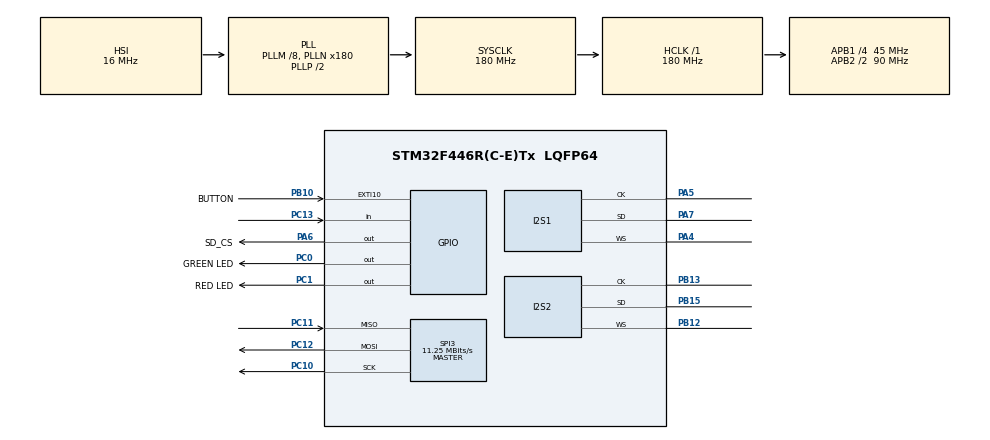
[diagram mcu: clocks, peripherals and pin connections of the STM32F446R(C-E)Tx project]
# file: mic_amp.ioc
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Dma.Request0=SPI1_TX
Dma.Request1=SPI2_RX
Dma.SPI1_TX.0.Direction=DMA_MEMORY_TO_PERIPH
Dma.SPI1_TX.0.FIFOMode=DMA_FIFOMODE_DISABLE
Dma.SPI1_TX.0.Instance=DMA2_Stream5
Dma.SPI1_TX.0.MemDataAlignment=DMA_MDATAALIGN_HALFWORD
Dma.SPI1_TX.0.MemInc=DMA_MINC_ENABLE
Dma.SPI1_TX.0.Mode=DMA_NORMAL
Dma.SPI1_TX.0.PeriphDataAlignment=DMA_PDATAALIGN_HALFWORD
Dma.SPI1_TX.0.PeriphInc=DMA_PINC_DISABLE
Dma.SPI1_TX.0.Priority=DMA_PRIORITY_LOW
Dma.SPI2_RX.1.Direction=DMA_PERIPH_TO_MEMORY
Dma.SPI2_RX.1.FIFOMode=DMA_FIFOMODE_DISABLE
Dma.SPI2_RX.1.Instance=DMA1_Stream3
Dma.SPI2_RX.1.MemDataAlignment=DMA_MDATAALIGN_HALFWORD
Dma.SPI2_RX.1.MemInc=DMA_MINC_ENABLE
Dma.SPI2_RX.1.Mode=DMA_NORMAL
Dma.SPI2_RX.1.PeriphDataAlignment=DMA_PDATAALIGN_HALFWORD
Dma.SPI2_RX.1.PeriphInc=DMA_PINC_DISABLE
Dma.SPI2_RX.1.Priority=DMA_PRIORITY_LOW
FATFS._MAX_SS=4096
FATFS._USE_CHMOD=0
FATFS._USE_LFN=1
FATFS._USE_MKFS=1
I2S1.AudioFreq=I2S_AUDIOFREQ_16K
I2S1.DataFormat=I2S_DATAFORMAT_32B
I2S1.ErrorAudioFreq=-0.35 %
I2S1.FullDuplexMode=I2S_FULLDUPLEXMODE_DISABLE
I2S1.Instance=SPI$Index
I2S1.RealAudioFreq=15.943 KHz
I2S1.Standard=I2S_STANDARD_PHILIPS
I2S1.VirtualMode=I2S_MODE_MASTER
I2S2.AudioFreq=I2S_AUDIOFREQ_16K
I2S2.DataFormat=I2S_DATAFORMAT_32B
I2S2.ErrorAudioFreq=-0.35 %
I2S2.FullDuplexMode=I2S_FULLDUPLEXMODE_DISABLE
I2S2.Instance=SPI$Index
I2S2.Mode=I2S_MODE_MASTER_RX
I2S2.RealAudioFreq=15.943 KHz
I2S2.VirtualMode=I2S_MODE_MASTER
Mcu.Family=STM32F4
Mcu.Name=STM32F446R(C-E)Tx
Mcu.Package=LQFP64
NVIC.DMA1_Stream3_IRQn=true\:0\:0\:false\:false\:true\:false\:true\:true
NVIC.DMA2_Stream5_IRQn=true\:0\:0\:false\:false\:true\:false\:true\:true
NVIC.EXTI15_10_IRQn=true\:0\:0\:false\:false\:true\:true\:true\:true
NVIC.PriorityGroup=NVIC_PRIORITYGROUP_0
PA13.Mode=Serial_Wire
PA13.Signal=SYS_JTMS-SWDIO
PA14.Mode=Serial_Wire
PA14.Signal=SYS_JTCK-SWCLK
PA2.GPIO_Label=USART_TX
PA2.Signal=USART2_TX
PA3.GPIO_Label=USART_RX
PA3.Signal=USART2_RX
PA4.Mode=Half_Duplex_Master
PA4.Signal=I2S1_WS
PA5.Mode=Half_Duplex_Master
PA5.Signal=I2S1_CK
PA6.GPIO_Label=SD_CS
PA6.GPIO_Speed=GPIO_SPEED_FREQ_HIGH
PA6.Signal=GPIO_Output
PA7.Mode=Half_Duplex_Master
PA7.Signal=I2S1_SD
PB10.GPIO_Label=BUTTON
PB10.GPIO_ModeDefaultEXTI=GPIO_MODE_IT_FALLING
PB10.GPIO_PuPd=GPIO_PULLDOWN
PB10.Signal=GPXTI10
PB12.Mode=Half_Duplex_Master
PB12.Signal=I2S2_WS
PB13.Mode=Half_Duplex_Master
PB13.Signal=I2S2_CK
PB15.Mode=Half_Duplex_Master
PB15.Signal=I2S2_SD
PC0.GPIO_Label=GREEN LED
PC0.GPIO_PuPd=GPIO_PULLDOWN
PC0.Signal=GPIO_Output
PC1.GPIO_Label=RED LED
PC1.GPIO_PuPd=GPIO_PULLDOWN
PC1.Signal=GPIO_Output
PC10.Mode=Full_Duplex_Master
PC10.Signal=SPI3_SCK
PC11.Mode=Full_Duplex_Master
PC11.Signal=SPI3_MISO
PC12.Mode=Full_Duplex_Master
PC12.Signal=SPI3_MOSI
PC13.Signal=GPIO_Input
PH0-OSC_IN.Mode=HSE-External-Oscillator
PH0-OSC_IN.Signal=RCC_OSC_IN
PH1-OSC_OUT.Mode=HSE-External-Oscillator
PH1-OSC_OUT.Signal=RCC_OSC_OUT
ProjectManager.HeapSize=0x200
ProjectManager.StackSize=0x400
ProjectManager.TargetToolchain=STM32CubeIDE
RCC.AHBFreq_Value=180000000
RCC.APB1CLKDivider=RCC_HCLK_DIV4
RCC.APB1Freq_Value=45000000
RCC.APB1TimFreq_Value=90000000
RCC.APB2CLKDivider=RCC_HCLK_DIV2
RCC.APB2Freq_Value=90000000
RCC.APB2TimFreq_Value=180000000
RCC.CortexFreq_Value=180000000
RCC.FLatency-AdvancedSettings=FLASH_LATENCY_5
RCC.HCLKFreq_Value=180000000
RCC.HSE_VALUE=8000000
RCC.HSI_VALUE=16000000
RCC.LSE_VALUE=32768
RCC.PLLI2SM=8
RCC.PLLI2SN=50
RCC.PLLM=8
RCC.PLLN=180
RCC.PLLQ=3
RCC.SYSCLKFreq_VALUE=180000000
RCC.SYSCLKSource=RCC_SYSCLKSOURCE_PLLCLK
RCC.USBFreq_Value=120000000
RCC.VCOOutputFreq_Value=360000000
SPI3.BaudRatePrescaler=SPI_BAUDRATEPRESCALER_4
SPI3.CalculateBaudRate=11.25 MBits/s
SPI3.Direction=SPI_DIRECTION_2LINES
SPI3.Mode=SPI_MODE_MASTER
SPI3.VirtualType=VM_MASTER
VP_FATFS_VS_Generic.Mode=User_defined
board=NUCLEO-F446RE

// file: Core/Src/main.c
/* USER CODE BEGIN Header */
/**
  ******************************************************************************
  * @file           : main.c
  * @brief          : Main program body
  ******************************************************************************
  * @attention
  *
  * Copyright (c) 2023 STMicroelectronics.
  * All rights reserved.
  *
  * This software is licensed under terms that can be found in the LICENSE file
  * in the root directory of this software component.
  * If no LICENSE file comes with this software, it is provided AS-IS.
  *
  ******************************************************************************
  */
/* USER CODE END Header */
#include "main.h"
#include "fatfs.h"

/* USER CODE BEGIN Includes */
#include "fatfs_sd.h"
#include "string.h"
/* USER CODE END Includes */

I2S_HandleTypeDef hi2s1;
I2S_HandleTypeDef hi2s2;
DMA_HandleTypeDef hdma_spi1_tx;
DMA_HandleTypeDef hdma_spi2_rx;

SPI_HandleTypeDef hspi3;

/* USER CODE BEGIN PV */
FATFS fs;			// file system
FIL fil;			// file
FRESULT fresult;	// to store the result
char buffer[1024];	// to store data

UINT br, bw;		// file read/write count

/* capacity related variables */
FATFS *pfs;
DWORD fre_clust;
uint32_t total, free_space;

/* to send the data to the uart */
void send_uart(char *string) {
	uint8_t len = strlen(string);
	HAL_UART_Transmit(&huart1, (uint8_t *) string, len, 2000);	//transmit in blocking mode
}

/* to find the size of data in the buffer */
int bufsize (char *buf) {
	int i = 0;
	while (*buf++ != '\0') {i++;}
	return i;
}

void bufclear (void) {
	for(int i = 0; i < 1024; i++) {buffer[i] = '\0';}
}

/* USER CODE END PV */

void SystemClock_Config(void);
void PeriphCommonClock_Config(void);
static void MX_GPIO_Init(void);
static void MX_DMA_Init(void);
static void MX_I2S1_Init(void);
static void MX_I2S2_Init(void);
static void MX_SPI3_Init(void);

int main(void)
{

  /* MCU Configuration--------------------------------------------------------*/

  /* Reset of all peripherals, Initializes the Flash interface and the Systick. */
  HAL_Init();

  /* Configure the system clock */
  SystemClock_Config();

/* Configure the peripherals common clocks */
  PeriphCommonClock_Config();

  /* Initialize all configured peripherals */
  MX_GPIO_Init();
  MX_DMA_Init();
  MX_I2S1_Init();
  MX_I2S2_Init();
  MX_SPI3_Init();
  MX_FATFS_Init();
  /* USER CODE BEGIN 2 */
//  /* Mount SD Card */
//  if(f_mount(&fs, "", 0) != FR_OK) {_Error_Handler(__FILE__, __LINE__);}
//
//  /* Open file to write */
//  if(f_open(&fil, "first.txt", FA_OPEN_ALWAYS | FA_READ | FA_WRITE) != FR_OK) {
//	  _Error_Handler(__FILE__, __LINE__);
//  }
//
//  /* Check free space */
//  if(f_getfree("", &fre_clust, &pfs) != FR_OK){
//	  _Error_Handler(__FILE__, __LINE__);
//  }
//
//  total = (uint32_t)((pfs->n_fatent - 2) * pfs->csize * 0.5);
//  free_space = (uint32_t)(fre_clust * pfs->csize * 0.5);
//
//  /* Free space is less than 1kb */
//  if(free_space < 1){
//	  _Error_Handler(__FILE__, __LINE__);
//  }
//
//  /* Writing text */
//  f_puts("STM32 SD Card I/O Example via SPI\n", &fil);
//  f_puts("Save the world!!!", &fil);
//
//  /* Close file */
//  if(f_close(&fil) != FR_OK){
//	  _Error_Handler(__FILE__, __LINE__);
//  }
//
//  /* Open file to read */
//  if(f_open(&fil, "first.txt", FA_READ) != FR_OK){
//	  _Error_Handler(__FILE__, __LINE__);
//  }
//
//  while(f_gets(buffer, sizeof(buffer), &fil))
//  {
//    //printf("%s", buffer);
//  }
//
//  /* Close file */
//  if(f_close(&fil) != FR_OK){
//	  _Error_Handler(__FILE__, __LINE__);
//  }
//
//  /* Unmount SDCARD */
//  if(f_mount(NULL, "", 1) != FR_OK){
//	  _Error_Handler(__FILE__, __LINE__);
//  }
  // mount SD card
    fresult = f_mount(&fs, "/", 1);
    if (fresult != FR_OK) {send_uart("ERROR!!! in mounting SD CARD...\n\n");}
    else {send_uart("SD CARD mounted successfully...\n\n");}

    /* open file to write / create a file if it doesn't exist */
    fresult = fopen(&fil, "file1.txt", FA_OPEN_ALWAYS | FA_READ | FA_WRITE);

    /* write text */
    fresult = f_puts("This data is from the First FILE\n\n", &fil);
    send_uart("File1.txt created and the data is written \n");

    /* close file */
    fresult = f_close(&fil);

    /* open file to read */
	fresult = fopen(&fil, "file1.txt", FA_READ);

	/* read string from the file */
	f_gets(buffer, sizeof(buffer), &fil);
	send_uart(buffer);

	/* close file */
	fresult = f_close(&fil);
	bufclear();

  /* USER CODE END 2 */

  /* Infinite loop */
  while (1)
  {

  }
}

void SystemClock_Config(void)
{
  RCC_OscInitTypeDef RCC_OscInitStruct = {0};
  RCC_ClkInitTypeDef RCC_ClkInitStruct = {0};

  /** Configure the main internal regulator output voltage
  */
  __HAL_RCC_PWR_CLK_ENABLE();
  __HAL_PWR_VOLTAGESCALING_CONFIG(PWR_REGULATOR_VOLTAGE_SCALE1);

  /** Initializes the RCC Oscillators according to the specified parameters
  * in the RCC_OscInitTypeDef structure.
  */
  RCC_OscInitStruct.OscillatorType = RCC_OSCILLATORTYPE_HSI;
  RCC_OscInitStruct.HSIState = RCC_HSI_ON;
  RCC_OscInitStruct.HSICalibrationValue = RCC_HSICALIBRATION_DEFAULT;
  RCC_OscInitStruct.PLL.PLLState = RCC_PLL_ON;
  RCC_OscInitStruct.PLL.PLLSource = RCC_PLLSOURCE_HSI;
  RCC_OscInitStruct.PLL.PLLM = 8;
  RCC_OscInitStruct.PLL.PLLN = 180;
  RCC_OscInitStruct.PLL.PLLP = RCC_PLLP_DIV2;
  RCC_OscInitStruct.PLL.PLLQ = 3;
  RCC_OscInitStruct.PLL.PLLR = 2;
  if (HAL_RCC_OscConfig(&RCC_OscInitStruct) != HAL_OK)
  {
    Error_Handler();
  }

  /** Activate the Over-Drive mode
  */
  if (HAL_PWREx_EnableOverDrive() != HAL_OK)
  {
    Error_Handler();
  }

  /** Initializes the CPU, AHB and APB buses clocks
  */
  RCC_ClkInitStruct.ClockType = RCC_CLOCKTYPE_HCLK|RCC_CLOCKTYPE_SYSCLK
                              |RCC_CLOCKTYPE_PCLK1|RCC_CLOCKTYPE_PCLK2;
  RCC_ClkInitStruct.SYSCLKSource = RCC_SYSCLKSOURCE_PLLCLK;
  RCC_ClkInitStruct.AHBCLKDivider = RCC_SYSCLK_DIV1;
  RCC_ClkInitStruct.APB1CLKDivider = RCC_HCLK_DIV4;
  RCC_ClkInitStruct.APB2CLKDivider = RCC_HCLK_DIV2;

  if (HAL_RCC_ClockConfig(&RCC_ClkInitStruct, FLASH_LATENCY_5) != HAL_OK)
  {
    Error_Handler();
  }
}

void PeriphCommonClock_Config(void)
{
  RCC_PeriphCLKInitTypeDef PeriphClkInitStruct = {0};

  /** Initializes the peripherals clock
  */
  PeriphClkInitStruct.PeriphClockSelection = RCC_PERIPHCLK_I2S_APB1|RCC_PERIPHCLK_I2S_APB2;
  PeriphClkInitStruct.PLLI2S.PLLI2SN = 50;
  PeriphClkInitStruct.PLLI2S.PLLI2SP = RCC_PLLI2SP_DIV2;
  PeriphClkInitStruct.PLLI2S.PLLI2SM = 8;
  PeriphClkInitStruct.PLLI2S.PLLI2SR = 2;
  PeriphClkInitStruct.PLLI2S.PLLI2SQ = 2;
  PeriphClkInitStruct.PLLI2SDivQ = 1;
  PeriphClkInitStruct.I2sApb2ClockSelection = RCC_I2SAPB2CLKSOURCE_PLLI2S;
  PeriphClkInitStruct.I2sApb1ClockSelection = RCC_I2SAPB1CLKSOURCE_PLLI2S;
  if (HAL_RCCEx_PeriphCLKConfig(&PeriphClkInitStruct) != HAL_OK)
  {
    Error_Handler();
  }
}

static void MX_I2S1_Init(void)
{

  hi2s1.Instance = SPI1;
  hi2s1.Init.Mode = I2S_MODE_MASTER_TX;
  hi2s1.Init.Standard = I2S_STANDARD_PHILIPS;
  hi2s1.Init.DataFormat = I2S_DATAFORMAT_32B;
  hi2s1.Init.MCLKOutput = I2S_MCLKOUTPUT_DISABLE;
  hi2s1.Init.AudioFreq = I2S_AUDIOFREQ_16K;
  hi2s1.Init.CPOL = I2S_CPOL_LOW;
  hi2s1.Init.ClockSource = I2S_CLOCK_PLL;
  hi2s1.Init.FullDuplexMode = I2S_FULLDUPLEXMODE_DISABLE;
  if (HAL_I2S_Init(&hi2s1) != HAL_OK)
  {
    Error_Handler();
  }

}

static void MX_I2S2_Init(void)
{

  hi2s2.Instance = SPI2;
  hi2s2.Init.Mode = I2S_MODE_MASTER_RX;
  hi2s2.Init.Standard = I2S_STANDARD_PHILIPS;
  hi2s2.Init.DataFormat = I2S_DATAFORMAT_32B;
  hi2s2.Init.MCLKOutput = I2S_MCLKOUTPUT_DISABLE;
  hi2s2.Init.AudioFreq = I2S_AUDIOFREQ_16K;
  hi2s2.Init.CPOL = I2S_CPOL_LOW;
  hi2s2.Init.ClockSource = I2S_CLOCK_PLL;
  hi2s2.Init.FullDuplexMode = I2S_FULLDUPLEXMODE_DISABLE;
  if (HAL_I2S_Init(&hi2s2) != HAL_OK)
  {
    Error_Handler();
  }

}

static void MX_SPI3_Init(void)
{

  /* SPI3 parameter configuration*/
  hspi3.Instance = SPI3;
  hspi3.Init.Mode = SPI_MODE_MASTER;
  hspi3.Init.Direction = SPI_DIRECTION_2LINES;
  hspi3.Init.DataSize = SPI_DATASIZE_8BIT;
  hspi3.Init.CLKPolarity = SPI_POLARITY_LOW;
  hspi3.Init.CLKPhase = SPI_PHASE_1EDGE;
  hspi3.Init.NSS = SPI_NSS_SOFT;
  hspi3.Init.BaudRatePrescaler = SPI_BAUDRATEPRESCALER_4;
  hspi3.Init.FirstBit = SPI_FIRSTBIT_MSB;
  hspi3.Init.TIMode = SPI_TIMODE_DISABLE;
  hspi3.Init.CRCCalculation = SPI_CRCCALCULATION_DISABLE;
  hspi3.Init.CRCPolynomial = 10;
  if (HAL_SPI_Init(&hspi3) != HAL_OK)
  {
    Error_Handler();
  }

}

static void MX_DMA_Init(void)
{

  /* DMA controller clock enable */
  __HAL_RCC_DMA2_CLK_ENABLE();
  __HAL_RCC_DMA1_CLK_ENABLE();

  /* DMA interrupt init */
  /* DMA1_Stream3_IRQn interrupt configuration */
  HAL_NVIC_SetPriority(DMA1_Stream3_IRQn, 0, 0);
  HAL_NVIC_EnableIRQ(DMA1_Stream3_IRQn);
  /* DMA2_Stream5_IRQn interrupt configuration */
  HAL_NVIC_SetPriority(DMA2_Stream5_IRQn, 0, 0);
  HAL_NVIC_EnableIRQ(DMA2_Stream5_IRQn);

}

static void MX_GPIO_Init(void)
{
  GPIO_InitTypeDef GPIO_InitStruct = {0};

  /* GPIO Ports Clock Enable */
  __HAL_RCC_GPIOC_CLK_ENABLE();
  __HAL_RCC_GPIOH_CLK_ENABLE();
  __HAL_RCC_GPIOA_CLK_ENABLE();
  __HAL_RCC_GPIOB_CLK_ENABLE();

  /*Configure GPIO pin Output Level */
  HAL_GPIO_WritePin(GPIOC, GREEN_LED_Pin|RED_LED_Pin, GPIO_PIN_RESET);

  /*Configure GPIO pin Output Level */
  HAL_GPIO_WritePin(SD_CS_GPIO_Port, SD_CS_Pin, GPIO_PIN_RESET);

  /*Configure GPIO pin : PC13 */
  GPIO_InitStruct.Pin = GPIO_PIN_13;
  GPIO_InitStruct.Mode = GPIO_MODE_INPUT;
  GPIO_InitStruct.Pull = GPIO_NOPULL;
  HAL_GPIO_Init(GPIOC, &GPIO_InitStruct);

  /*Configure GPIO pins : GREEN_LED_Pin RED_LED_Pin */
  GPIO_InitStruct.Pin = GREEN_LED_Pin|RED_LED_Pin;
  GPIO_InitStruct.Mode = GPIO_MODE_OUTPUT_PP;
  GPIO_InitStruct.Pull = GPIO_PULLDOWN;
  GPIO_InitStruct.Speed = GPIO_SPEED_FREQ_LOW;
  HAL_GPIO_Init(GPIOC, &GPIO_InitStruct);

  /*Configure GPIO pins : USART_TX_Pin USART_RX_Pin */
  GPIO_InitStruct.Pin = USART_TX_Pin|USART_RX_Pin;
  GPIO_InitStruct.Mode = GPIO_MODE_AF_PP;
  GPIO_InitStruct.Pull = GPIO_NOPULL;
  GPIO_InitStruct.Speed = GPIO_SPEED_FREQ_VERY_HIGH;
  GPIO_InitStruct.Alternate = GPIO_AF7_USART2;
  HAL_GPIO_Init(GPIOA, &GPIO_InitStruct);

  /*Configure GPIO pin : SD_CS_Pin */
  GPIO_InitStruct.Pin = SD_CS_Pin;
  GPIO_InitStruct.Mode = GPIO_MODE_OUTPUT_PP;
  GPIO_InitStruct.Pull = GPIO_NOPULL;
  GPIO_InitStruct.Speed = GPIO_SPEED_FREQ_HIGH;
  HAL_GPIO_Init(SD_CS_GPIO_Port, &GPIO_InitStruct);

  /*Configure GPIO pin : BUTTON_Pin */
  GPIO_InitStruct.Pin = BUTTON_Pin;
  GPIO_InitStruct.Mode = GPIO_MODE_IT_FALLING;
  GPIO_InitStruct.Pull = GPIO_PULLDOWN;
  HAL_GPIO_Init(BUTTON_GPIO_Port, &GPIO_InitStruct);

  /* EXTI interrupt init*/
  HAL_NVIC_SetPriority(EXTI15_10_IRQn, 0, 0);
  HAL_NVIC_EnableIRQ(EXTI15_10_IRQn);

}

void Error_Handler(void)
{
  __disable_irq();
  while (1)
  {
  }
}
